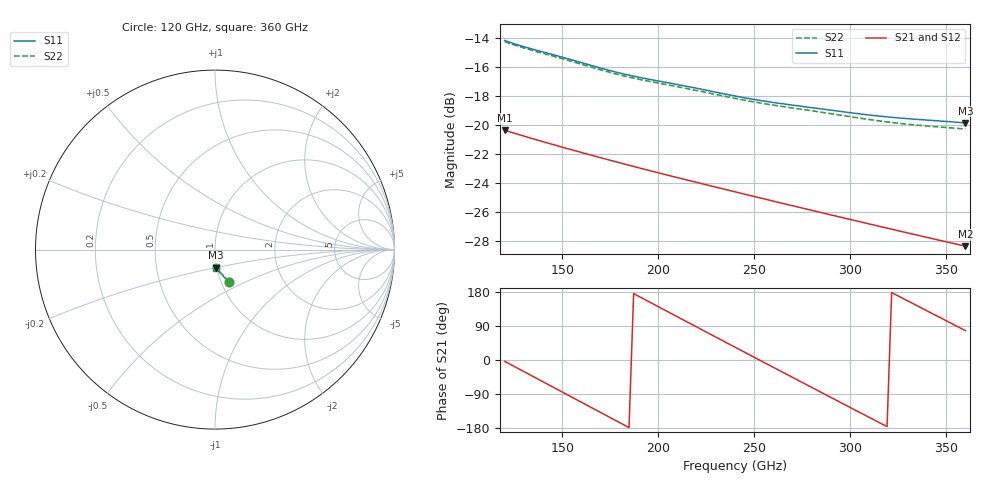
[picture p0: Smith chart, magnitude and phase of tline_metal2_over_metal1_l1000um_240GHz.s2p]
#  GHZ S DB R 50
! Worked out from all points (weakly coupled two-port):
!   101 points, 120 GHz to 360 GHz, reference 50 ohm
!   highest |S21| = -20.36 dB at 120 GHz (marker M1); lowest = -28.4 dB at 360 GHz (marker M2)
!   lowest |S11| = -19.9 dB at 360 GHz (marker M3), VSWR 1.23, Z = 49.6 - j10.2 ohm
!   |S11| at or under -10 dB: start of sweep to end of sweep
!   |S22| runs from -20.3 to -14.2 dB; largest |S21 - S12| = 1.1e-13
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120  -14.16 -66.3  -20.36 -3.3  -20.36 -3.3  -14.24 -66.4
129.6  -14.57 -67.1  -20.75 -29.3  -20.75 -29.3  -14.66 -67.3
141.6  -15.01 -68.5  -21.21 -61.7  -21.21 -61.7  -15.11 -68.7
151.2  -15.36 -69.9  -21.57 -87.7  -21.57 -87.7  -15.46 -70.0
160.8  -15.72 -71.2  -21.92 -113.6  -21.92 -113.6  -15.83 -71.3
170.4  -16.08 -72.2  -22.27 -139.5  -22.27 -139.5  -16.20 -72.3
180  -16.41 -73.0  -22.61 -165.4  -22.61 -165.4  -16.54 -73.1
189.6  -16.69 -73.8  -22.95 168.8  -22.95 168.8  -16.83 -73.9
201.6  -17.00 -74.9  -23.35 136.6  -23.35 136.6  -17.14 -74.9
211.2  -17.23 -75.9  -23.67 110.9  -23.67 110.9  -17.38 -76.0
220.8  -17.48 -76.9  -23.99 85.2  -23.99 85.2  -17.64 -77.0
230.4  -17.74 -77.9  -24.30 59.5  -24.30 59.5  -17.90 -78.0
240  -17.99 -78.6  -24.61 33.9  -24.61 33.9  -18.16 -78.8
249.6  -18.23 -79.2  -24.92 8.3  -24.92 8.3  -18.40 -79.4
259.2  -18.43 -79.8  -25.23 -17.3  -25.23 -17.3  -18.61 -80.1
271.2  -18.65 -80.5  -25.61 -49.1  -25.61 -49.1  -18.85 -80.9
280.8  -18.81 -81.2  -25.92 -74.5  -25.92 -74.5  -19.03 -81.7
292.8  -19.02 -82.1  -26.30 -106.3  -26.30 -106.3  -19.28 -82.6
304.8  -19.23 -82.8  -26.67 -137.9  -26.67 -137.9  -19.52 -83.3
321.6  -19.47 -83.6  -27.20 178.0  -27.20 178.0  -19.82 -84.0
343.2  -19.69 -84.9  -27.86 121.4  -27.86 121.4  -20.10 -84.9
360  -19.86 -86.2  -28.37 77.5  -28.37 77.5  -20.27 -85.7
